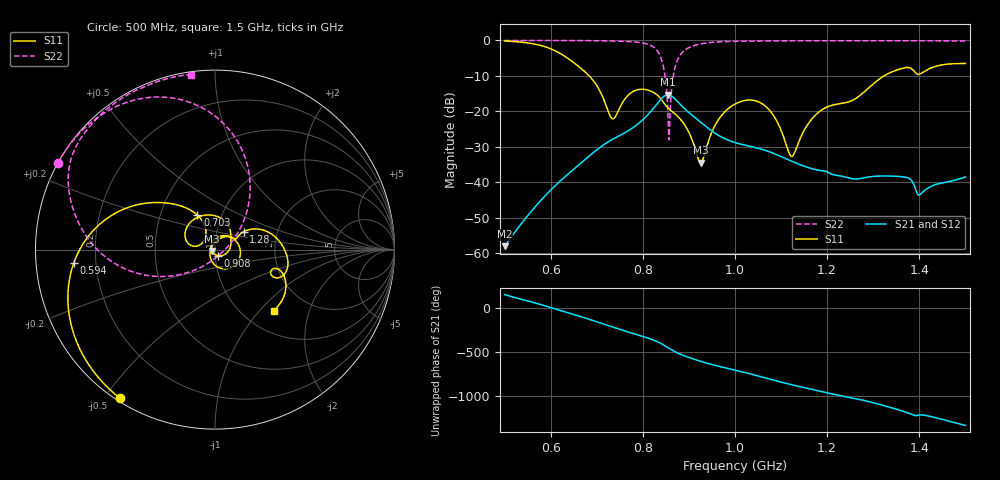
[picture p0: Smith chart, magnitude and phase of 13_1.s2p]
! TOUCHSTONE file generated by CST MICROWAVE STUDIO
! Date and time: Fri Oct  2 18:52:40 2020
! Project name: Scenario_1_Free_Space_out_of_line.cst
! Parameters = {Lambda=346.42; Step_1=17.321; dy1=139.548; dx1=173; L_HA=400; MT=2.54; Rad_Dielectric=30; Rad_Lower=7.3; Rad_Upper=30; a_HA=580; a_WG=246; b_HA=500; b_WG=121; c_HA=0; c_WG=187; d_feed=85; h_feed=15; h_lower=18; h_upper=40}
! Header version: 2018
! Port assignment regex: !\s*Touchstone port\s*([0-9]+)\s*=\s*(CST MWS port|CST DS port)\s*([0-9]+|Zmin|Zmax)\s*\(\"(.*)\"\)(\s*mode\s*([0-9]+))?.*
! Touchstone port assignment:
! Touchstone port 1 = CST MWS port 1 ("")
! Touchstone port 2 = CST MWS port 2 ("")
# GHz S DB R 50
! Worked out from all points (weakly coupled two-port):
!   1003 points, 500 MHz to 1.5 GHz, reference 50 ohm
!   highest |S21| = -15.31 dB at 854 MHz (marker M1); lowest = -57.9 dB at 500 MHz (marker M2)
!   lowest |S11| = -34.5 dB at 926 MHz (marker M3), VSWR 1.04, Z = 48.3 - j0.744 ohm
!   |S11| at or under -10 dB: 683.5 MHz to 1.323 GHz (639.8 MHz wide, 63.8 % of centre)
!   |S22| runs from -28.0 to 0.0 dB; largest |S21 - S12| = 0.00012
!   S11 on the Smith chart (normalised r, x): 500 MHz: 0.01, -0.55; 594 MHz: 0.12, -0.05; 703 MHz: 0.77, +0.31; 908 MHz: 1.03, -0.07; 1.28 GHz: 1.35, +0.28; 1.5 GHz: 1.35, -1.20
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0.5  -0.15 -122.6  -57.94 156.8  -57.94 156.8  -0.01 151.1
0.594  -2.05 -174.7  -42.92 18.2  -42.92 18.2  -0.02 144.5
0.667  -8.01 138.8  -34.38 -98.9  -34.38 -98.9  -0.04 138.3
0.703  -13.35 117.0  -30.52 -159.1  -30.52 -159.1  -0.09 134.3
0.735  -22.09 145.7  -27.80 144.6  -27.80 144.6  -0.16 130.0
0.781  -14.23 148.0  -24.33 69.7  -24.33 69.7  -0.41 120.1
0.834  -15.71 67.6  -17.37 -29.0  -17.37 -29.0  -3.45 83.2
0.846  -17.67 48.5  -15.74 -63.1  -15.74 -63.1  -8.31 59.3
0.854  -18.92 38.8  -15.31 -89.1  -15.31 -89.1  -19.29 26.5
0.859  -19.53 32.8  -15.43 -105.5  -15.43 -105.5  -20.76 -119.4
0.875  -21.30 8.7  -17.17 -151.0  -17.17 -151.0  -5.54 -169.2
0.908  -28.37 -62.7  -21.18 143.0  -21.18 143.0  -1.59 163.0
0.926  -34.46 -156.0  -23.08 112.3  -23.08 112.3  -0.96 156.0
0.96  -23.16 80.2  -26.39 63.1  -26.39 63.1  -0.43 146.9
1  -17.92 20.8  -28.76 13.3  -28.76 13.3  -0.25 140.1
1.068  -18.74 -67.3  -31.05 -79.5  -31.05 -79.5  -0.15 132.6
1.123  -32.68 158.7  -34.03 -154.5  -34.03 -154.5  -0.11 127.7
1.167  -22.08 59.1  -36.11 153.0  -36.11 153.0  -0.09 124.1
1.28  -14.55 32.0  -38.68 26.2  -38.68 26.3  -0.09 115.5
1.334  -9.24 11.4  -38.18 -49.6  -38.18 -49.6  -0.09 111.5
1.4  -9.51 -19.7  -43.52 -140.8  -43.50 -140.9  -0.10 106.3
1.5  -6.48 -46.5  -38.44 100.0  -38.49 100.4  -0.14 97.7
